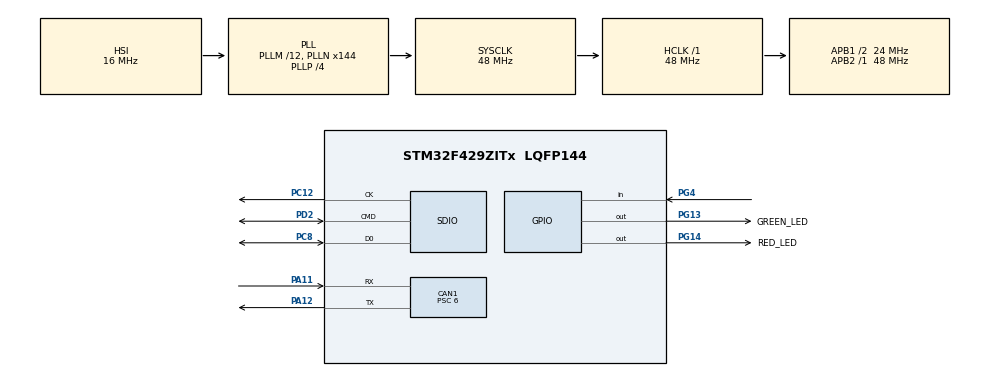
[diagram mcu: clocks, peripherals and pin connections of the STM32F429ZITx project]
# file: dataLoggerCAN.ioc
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CAN1.BS1=CAN_BS1_5TQ
CAN1.BS2=CAN_BS2_2TQ
CAN1.CalculateTimeQuantum=250.0
CAN1.Prescaler=6
CAN1.TTCM=DISABLE
Dma.Request0=SDIO_RX
Dma.Request1=SDIO_TX
Dma.SDIO_RX.0.Direction=DMA_PERIPH_TO_MEMORY
Dma.SDIO_RX.0.FIFOMode=DMA_FIFOMODE_ENABLE
Dma.SDIO_RX.0.FIFOThreshold=DMA_FIFO_THRESHOLD_FULL
Dma.SDIO_RX.0.Instance=DMA2_Stream3
Dma.SDIO_RX.0.MemBurst=DMA_MBURST_INC4
Dma.SDIO_RX.0.MemDataAlignment=DMA_MDATAALIGN_WORD
Dma.SDIO_RX.0.MemInc=DMA_MINC_ENABLE
Dma.SDIO_RX.0.Mode=DMA_PFCTRL
Dma.SDIO_RX.0.PeriphBurst=DMA_PBURST_INC4
Dma.SDIO_RX.0.PeriphDataAlignment=DMA_PDATAALIGN_WORD
Dma.SDIO_RX.0.PeriphInc=DMA_PINC_DISABLE
Dma.SDIO_RX.0.Priority=DMA_PRIORITY_LOW
Dma.SDIO_TX.1.Direction=DMA_MEMORY_TO_PERIPH
Dma.SDIO_TX.1.FIFOMode=DMA_FIFOMODE_ENABLE
Dma.SDIO_TX.1.FIFOThreshold=DMA_FIFO_THRESHOLD_FULL
Dma.SDIO_TX.1.Instance=DMA2_Stream6
Dma.SDIO_TX.1.MemBurst=DMA_MBURST_INC4
Dma.SDIO_TX.1.MemDataAlignment=DMA_MDATAALIGN_WORD
Dma.SDIO_TX.1.MemInc=DMA_MINC_ENABLE
Dma.SDIO_TX.1.Mode=DMA_PFCTRL
Dma.SDIO_TX.1.PeriphBurst=DMA_PBURST_INC4
Dma.SDIO_TX.1.PeriphDataAlignment=DMA_PDATAALIGN_WORD
Dma.SDIO_TX.1.PeriphInc=DMA_PINC_DISABLE
Dma.SDIO_TX.1.Priority=DMA_PRIORITY_LOW
FATFS.BSP.number=1
FATFS._CODE_PAGE=437
FATFS._USE_LFN=0
FATFS0.BSP.STBoard=false
FATFS0.BSP.api=Unknown
FATFS0.BSP.i2caddr=0
FATFS0.BSP.instance=PG4
FATFS0.BSP.ip=GPIO
FATFS0.BSP.mode=Input
FATFS0.BSP.name=Detect_SDIO
FATFS0.BSP.solution=PG4
Mcu.Family=STM32F4
Mcu.Name=STM32F429ZITx
Mcu.Package=LQFP144
NVIC.DMA2_Stream3_IRQn=true\:5\:0\:true\:true\:true\:2\:false\:true
NVIC.DMA2_Stream6_IRQn=true\:5\:0\:true\:true\:true\:3\:false\:true
NVIC.PriorityGroup=NVIC_PRIORITYGROUP_4
NVIC.TIM1_UP_TIM10_IRQn=true\:0\:0\:false\:false\:true\:false\:true
NVIC.TimeBase=TIM1_UP_TIM10_IRQn
NVIC.TimeBaseIP=TIM1
PA11.Mode=Master
PA11.Signal=CAN1_RX
PA12.Mode=Master
PA12.Signal=CAN1_TX
PA13.Mode=Serial_Wire
PA13.Signal=SYS_JTMS-SWDIO
PA14.Mode=Serial_Wire
PA14.Signal=SYS_JTCK-SWCLK
PC12.GPIO_PuPd=GPIO_NOPULL
PC12.Mode=SD_1_bit
PC12.Signal=SDIO_CK
PC8.GPIO_PuPd=GPIO_PULLUP
PC8.Mode=SD_1_bit
PC8.Signal=SDIO_D0
PD2.GPIO_PuPd=GPIO_PULLUP
PD2.Mode=SD_1_bit
PD2.Signal=SDIO_CMD
PG13.GPIO_Label=GREEN_LED
PG13.PinState=GPIO_PIN_RESET
PG13.Signal=GPIO_Output
PG14.GPIO_Label=RED_LED
PG14.PinState=GPIO_PIN_RESET
PG14.Signal=GPIO_Output
PG4.Signal=GPIO_Input
PH0/OSC_IN.Mode=HSE-External-Oscillator
PH0/OSC_IN.Signal=RCC_OSC_IN
PH1/OSC_OUT.Mode=HSE-External-Oscillator
PH1/OSC_OUT.Signal=RCC_OSC_OUT
ProjectManager.HeapSize=0x400
ProjectManager.StackSize=0x800
ProjectManager.TargetToolchain=STM32CubeIDE
RCC.48MHZClocksFreq_Value=48000000
RCC.AHBFreq_Value=48000000
RCC.APB1CLKDivider=RCC_HCLK_DIV2
RCC.APB1Freq_Value=24000000
RCC.APB1TimFreq_Value=48000000
RCC.APB2Freq_Value=48000000
RCC.APB2TimFreq_Value=48000000
RCC.CortexFreq_Value=48000000
RCC.HCLKFreq_Value=48000000
RCC.HSE_VALUE=8000000
RCC.HSI_VALUE=16000000
RCC.LSE_VALUE=32768
RCC.PLLM=12
RCC.PLLN=144
RCC.PLLP=RCC_PLLP_DIV4
RCC.RCC_RTC_Clock_SourceVirtual=RCC_RTCCLKSOURCE_HSE_DIV25
RCC.RCC_RTC_Clock_Source_FROM_HSE=RCC_RTCCLKSOURCE_HSE_DIV25
RCC.SYSCLKFreq_VALUE=48000000
RCC.SYSCLKSource=RCC_SYSCLKSOURCE_PLLCLK
RCC.VCOOutputFreq_Value=192000000
SDIO.ClockDiv=2
VP_FATFS_VS_SDIO.Mode=SDIO
VP_SYS_VS_tim1.Mode=TIM1
board=custom

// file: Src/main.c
/* USER CODE BEGIN Header */
/**
 ******************************************************************************
 * @file           : main.c
 * @brief          : Main program body
 ******************************************************************************
 * @attention
 *
 * <h2><center>&copy; Copyright (c) 2019 STMicroelectronics.
 * All rights reserved.</center></h2>
 *
 * This software component is licensed by ST under BSD 3-Clause license,
 * the "License"; You may not use this file except in compliance with the
 * License. You may obtain a copy of the License at:
 *                        opensource.org/licenses/BSD-3-Clause
 *
 ******************************************************************************
 */
/* USER CODE END Header */

#include "main.h"
#include "fatfs.h"

/* USER CODE BEGIN Includes */
#include "FreeRTOS.h"
#include "task.h"
#include "queue.h"
/* USER CODE END Includes */

/* USER CODE BEGIN PD */

/* xTaskCreate defines */
#define STACK_SIZE_TASK_LED       200
#define STACK_SIZE_TASK_LOG       800
#define STACK_SIZE_TASK_HANDLECAN 400

#define PRIORITY_TASK_LED         1
#define PRIORITY_TASK_LOG         2
#define PRIORITY_TASK_HANDLECAN   4

#define ID_CAN_GPS                0x500
#define MAX_SIZE_MESSAGE_CAN      45
#define SIZE_CAN_MESSAGE_BUFFER   15

/* USER CODE END PD */

/* CAN handler */
CAN_HandleTypeDef hcan1;

/* SD card handles */
SD_HandleTypeDef  hsd;
DMA_HandleTypeDef hdma_sdio_rx;
DMA_HandleTypeDef hdma_sdio_tx;

/* USER CODE BEGIN PV */

/* FreeRTOS task handles */
TaskHandle_t taskLedHandle;
TaskHandle_t taskLogHandle;
TaskHandle_t taskHandleCANHandle;

/* queue for CAN messages */
QueueHandle_t xQueueCAN;

/* variables for CAN bus configuration */
CAN_FilterTypeDef 	sFilterConfig;
CAN_RxHeaderTypeDef	RxHeader;
uint8_t 			RxData[8];

/* CAN message struct */
struct canMessage {
	uint32_t id;
	uint8_t  data[8];
	uint32_t timestamp;
};

/* struct for datetime */
struct nowDateTime {
	uint32_t day;
	uint32_t month;
	uint32_t year;
	uint32_t hour;
	uint32_t minute;

};

/* flag to control log file creation */
_Bool flagDateSet = 0;

/* USER CODE END PV */

void SystemClock_Config(void);
static void MX_GPIO_Init(void);
static void MX_DMA_Init(void);
static void MX_CAN1_Init(void);
static void MX_SDIO_SD_Init(void);
static void MX_NVIC_Init(void);
/* USER CODE BEGIN PFP */

/* task for debugging, just a blink LED */
void taskLed(void *pvParameters);

/* task to save CAN messages to SD card */
void taskLog(void *pvParameters);

/* task to read CAN messages (polling) */
void taskHandleCAN(void *pvParameters);

/* function to control whether there was an error with SD card or not */
void sdCardError(FRESULT f_status, uint8_t location);

/* USER CODE END PFP */

void SystemClock_Config(void)
{
  RCC_OscInitTypeDef RCC_OscInitStruct = {0};
  RCC_ClkInitTypeDef RCC_ClkInitStruct = {0};

  /** Configure the main internal regulator output voltage
  */
  __HAL_RCC_PWR_CLK_ENABLE();
  __HAL_PWR_VOLTAGESCALING_CONFIG(PWR_REGULATOR_VOLTAGE_SCALE3);
  /** Initializes the CPU, AHB and APB busses clocks
  */
  RCC_OscInitStruct.OscillatorType = RCC_OSCILLATORTYPE_HSI;
  RCC_OscInitStruct.HSIState = RCC_HSI_ON;
  RCC_OscInitStruct.HSICalibrationValue = RCC_HSICALIBRATION_DEFAULT;
  RCC_OscInitStruct.PLL.PLLState = RCC_PLL_ON;
  RCC_OscInitStruct.PLL.PLLSource = RCC_PLLSOURCE_HSI;
  RCC_OscInitStruct.PLL.PLLM = 12;
  RCC_OscInitStruct.PLL.PLLN = 144;
  RCC_OscInitStruct.PLL.PLLP = RCC_PLLP_DIV4;
  RCC_OscInitStruct.PLL.PLLQ = 4;
  if (HAL_RCC_OscConfig(&RCC_OscInitStruct) != HAL_OK)
  {
    Error_Handler();
  }
  /** Initializes the CPU, AHB and APB busses clocks
  */
  RCC_ClkInitStruct.ClockType = RCC_CLOCKTYPE_HCLK|RCC_CLOCKTYPE_SYSCLK
                              |RCC_CLOCKTYPE_PCLK1|RCC_CLOCKTYPE_PCLK2;
  RCC_ClkInitStruct.SYSCLKSource = RCC_SYSCLKSOURCE_PLLCLK;
  RCC_ClkInitStruct.AHBCLKDivider = RCC_SYSCLK_DIV1;
  RCC_ClkInitStruct.APB1CLKDivider = RCC_HCLK_DIV2;
  RCC_ClkInitStruct.APB2CLKDivider = RCC_HCLK_DIV1;

  if (HAL_RCC_ClockConfig(&RCC_ClkInitStruct, FLASH_LATENCY_1) != HAL_OK)
  {
    Error_Handler();
  }
}

/**
  * @brief NVIC Configuration.
  * @retval None
  */
static void MX_NVIC_Init(void)
{
  /* DMA2_Stream3_IRQn interrupt configuration */
  HAL_NVIC_SetPriority(DMA2_Stream3_IRQn, 5, 0);
  HAL_NVIC_EnableIRQ(DMA2_Stream3_IRQn);
  /* DMA2_Stream6_IRQn interrupt configuration */
  HAL_NVIC_SetPriority(DMA2_Stream6_IRQn, 5, 0);
  HAL_NVIC_EnableIRQ(DMA2_Stream6_IRQn);
}

static void MX_CAN1_Init(void)
{

  hcan1.Instance = CAN1;
  hcan1.Init.Prescaler = 6;
  hcan1.Init.Mode = CAN_MODE_NORMAL;
  hcan1.Init.SyncJumpWidth = CAN_SJW_1TQ;
  hcan1.Init.TimeSeg1 = CAN_BS1_5TQ;
  hcan1.Init.TimeSeg2 = CAN_BS2_2TQ;
  hcan1.Init.TimeTriggeredMode = DISABLE;
  hcan1.Init.AutoBusOff = DISABLE;
  hcan1.Init.AutoWakeUp = DISABLE;
  hcan1.Init.AutoRetransmission = DISABLE;
  hcan1.Init.ReceiveFifoLocked = DISABLE;
  hcan1.Init.TransmitFifoPriority = DISABLE;
  if (HAL_CAN_Init(&hcan1) != HAL_OK)
  {
    Error_Handler();
  }
  /* USER CODE BEGIN CAN1_Init 2 */

  /* config CAN filter */
  sFilterConfig.FilterBank = 0;
  sFilterConfig.FilterMode = CAN_FILTERMODE_IDMASK;
  sFilterConfig.FilterScale = CAN_FILTERSCALE_32BIT;
  sFilterConfig.FilterIdHigh = 0x0000;
  sFilterConfig.FilterIdLow = 0x0000;
  sFilterConfig.FilterMaskIdHigh = 0x0000;
  sFilterConfig.FilterMaskIdLow = 0x0000;
  sFilterConfig.FilterFIFOAssignment	= CAN_RX_FIFO0;
  sFilterConfig.FilterActivation = ENABLE;
  sFilterConfig.SlaveStartFilterBank = 14;

  if (HAL_CAN_ConfigFilter(&hcan1, &sFilterConfig) != HAL_OK) {
    /* Filter configuration Error */
    Error_Handler();
  }

  /* USER CODE END CAN1_Init 2 */

}

static void MX_SDIO_SD_Init(void)
{

  hsd.Instance = SDIO;
  hsd.Init.ClockEdge = SDIO_CLOCK_EDGE_RISING;
  hsd.Init.ClockBypass = SDIO_CLOCK_BYPASS_DISABLE;
  hsd.Init.ClockPowerSave = SDIO_CLOCK_POWER_SAVE_DISABLE;
  hsd.Init.BusWide = SDIO_BUS_WIDE_1B;
  hsd.Init.HardwareFlowControl = SDIO_HARDWARE_FLOW_CONTROL_DISABLE;
  hsd.Init.ClockDiv = 2;

}

static void MX_DMA_Init(void)
{

  /* DMA controller clock enable */
  __HAL_RCC_DMA2_CLK_ENABLE();

}

static void MX_GPIO_Init(void)
{
  GPIO_InitTypeDef GPIO_InitStruct = {0};

  /* GPIO Ports Clock Enable */
  __HAL_RCC_GPIOH_CLK_ENABLE();
  __HAL_RCC_GPIOG_CLK_ENABLE();
  __HAL_RCC_GPIOC_CLK_ENABLE();
  __HAL_RCC_GPIOA_CLK_ENABLE();
  __HAL_RCC_GPIOD_CLK_ENABLE();

  /*Configure GPIO pin Output Level */
  HAL_GPIO_WritePin(GPIOG, GREEN_LED_Pin|RED_LED_Pin, GPIO_PIN_RESET);

  /*Configure GPIO pin : PG4 */
  GPIO_InitStruct.Pin = GPIO_PIN_4;
  GPIO_InitStruct.Mode = GPIO_MODE_INPUT;
  GPIO_InitStruct.Pull = GPIO_NOPULL;
  HAL_GPIO_Init(GPIOG, &GPIO_InitStruct);

  /*Configure GPIO pins : GREEN_LED_Pin RED_LED_Pin */
  GPIO_InitStruct.Pin = GREEN_LED_Pin|RED_LED_Pin;
  GPIO_InitStruct.Mode = GPIO_MODE_OUTPUT_PP;
  GPIO_InitStruct.Pull = GPIO_NOPULL;
  GPIO_InitStruct.Speed = GPIO_SPEED_FREQ_LOW;
  HAL_GPIO_Init(GPIOG, &GPIO_InitStruct);

}

/* USER CODE BEGIN 4 */

/**
  * @brief  The application entry point.
  * @retval int
  */
int main(void) {
	/* reset of all peripherals, initializes the flash interface and the Systick. */
	HAL_Init();

	/* configure the system clock */
	SystemClock_Config();

	/* initialize all configured peripherals */
	MX_DMA_Init();
	MX_GPIO_Init();
	MX_CAN1_Init();
	MX_SDIO_SD_Init();

	/* initialize interrupts */
	MX_NVIC_Init();

	/* try to create queue */
	xQueueCAN = xQueueCreate(50, sizeof(struct canMessage));
	if (xQueueCAN == NULL) {
		/* queue was not created and must not be used. */
	}

	/* create tasks */
//	xTaskCreate (
//		taskLed, 					// function
//		(signed char *) "TaskLed", 	// name
//		STACK_SIZE_TASK_LED,		// stack size
//		(void *) NULL,				// pvParameters
//		PRIORITY_TASK_LED,			// priority
//		&taskLedHandle				// taskHandle
//	);

	xTaskCreate (
		taskLog, 					// function
		(signed char *) "TaskLog", 	// name
		STACK_SIZE_TASK_LOG,		// stack size
		(void *) NULL,				// pvParameters
		PRIORITY_TASK_LOG,			// priority
		&taskLogHandle				// taskHandle
	);

	xTaskCreate (
		taskHandleCAN, 					// function
		(signed char *) "TaskHadleCAN",	// name
		STACK_SIZE_TASK_HANDLECAN,		// stack size
		(void *) NULL,					// pvParameters
		PRIORITY_TASK_HANDLECAN,		// priority
		&taskHandleCANHandle			// taskHandle
	);

	/* start the scheduler */
	vTaskStartScheduler();

	/* infinite loop */
	for (;;);
}

void taskLed(void *pvParameters) {
	TickType_t xLastWakeTime = xTaskGetTickCount();
	const TickType_t timeMiliseconds = 1000 / portTICK_PERIOD_MS;

	for (;;) {
		/* red LED for debugging */
		HAL_GPIO_TogglePin(GPIOG, GREEN_LED_Pin);

		vTaskDelayUntil(&xLastWakeTime, timeMiliseconds);
	}
}

void taskHandleCAN (void *pvParameters) {
	uint32_t messagesInFifo;
	HAL_StatusTypeDef status;
	struct canMessage message;

	BaseType_t xHigherPriorityTaskWoken = pdFALSE;

	if (HAL_CAN_Start(&hcan1) != HAL_OK) {
		/* start error */
		Error_Handler();
	}

	for (;;) {
		/* waits for a message in CAN bus */
		do {
			messagesInFifo = HAL_CAN_GetRxFifoFillLevel(&hcan1, CAN_RX_FIFO0);
		} while (messagesInFifo == 0);

		/* read CAN message */
		status = HAL_CAN_GetRxMessage(&hcan1, CAN_RX_FIFO0, &RxHeader, RxData);

		/* case message is OK */
		if (status == HAL_OK) {
			/* save data to CAN message struct */
			message.id = RxHeader.StdId;
			memcpy(message.data, RxData, sizeof(RxData));
			message.timestamp = xTaskGetTickCount();

			/* add message to queue */
			xQueueSend(xQueueCAN, (const void *) &message, &xHigherPriorityTaskWoken);
		}
	}
}

void taskLog (void *pvParameters) {
	/* FatFS variables */
	FRESULT f_status;
	MX_FATFS_Init();

	/* log file values */
	char folderPath[9]; // yy-mm-dd
	char fileName[15];   // hh-mm

	/* structs */
	struct canMessage message;
	struct nowDateTime logDateTime;

	/* delta time calculation variables */
	uint32_t timeInit;
	uint32_t timeToLog;

	/* init buffer for messages to be logged with empty values */
	char messageToLog[SIZE_CAN_MESSAGE_BUFFER * MAX_SIZE_MESSAGE_CAN];
	memset(messageToLog, 0, sizeof(messageToLog));

	/* number of messages to log */
	uint8_t numberMessagesToLog = 0;

	/* try to mount SD card */
	f_status = f_mount(&SDFatFS, (char const*)SDPath, 1);
	if (f_status != FR_OK) {
		sdCardError(f_status, 0);
	}

	for (;;) {
		/* waits for a message in the queue */
		xQueueReceive(xQueueCAN, (void *) &message, portMAX_DELAY);

		/* if log file is already created */
		if (flagDateSet) {
			timeToLog = (message.timestamp - timeInit) * portTICK_PERIOD_MS;

			if ((int)timeToLog > 0) {
				/* append new message to buffer */
				sprintf(messageToLog, "%s%x;%02x|%02x|%02x|%02x|%02x|%02x|%02x|%02x;%d\n",
					messageToLog,
					message.id,
					message.data[0],
					message.data[1],
					message.data[2],
					message.data[3],
					message.data[4],
					message.data[5],
					message.data[6],
					message.data[7],
					timeToLog
				);

				/* number of messages in the buffer */
				numberMessagesToLog++;

				/* if buffer is full */
				if (numberMessagesToLog == SIZE_CAN_MESSAGE_BUFFER) {
					/* open file */
					f_status = f_open(&SDFile, fileName, FA_OPEN_ALWAYS | FA_WRITE);

					if (f_status == FR_OK) {
						/* set pointer to the end of the file */
						f_status = f_lseek(&SDFile, f_size(&SDFile));
						if (f_status != FR_OK) {
							sdCardError(f_status, 5);
						}

						/* write message in log file */
						if (f_puts(messageToLog, &SDFile) > 0);

						/* wait until file is closed */
						do {
							f_status = f_close(&SDFile);
						} while (f_status != FR_OK);
					}

					else {
						sdCardError(f_status, 4);
					}

					/* reset buffer */
					memset(messageToLog, 0, sizeof(messageToLog));
					numberMessagesToLog = 0;

					/* green LED for debugging */
					HAL_GPIO_TogglePin(GPIOG, GREEN_LED_Pin);
				}
			}
		}

		/* waits for a GPS message, in order to get the date for the file name */
		else if ((message.id == ID_CAN_GPS) && !(flagDateSet)) {
			/* struct with date and time */
			logDateTime.day = message.data[0];
			logDateTime.month = message.data[1];
			logDateTime.year = message.data[2];

			logDateTime.hour = message.data[3];
			logDateTime.minute = message.data[4];

			/* create folder in SD card, if does not exist */
			sprintf(folderPath, "%02d-%02d-%02d",
				logDateTime.year,
				logDateTime.month,
				logDateTime.day
			);
			f_status = f_mkdir(folderPath);
			if ((f_status != FR_OK) && (f_status != FR_EXIST)) {
				sdCardError(f_status, 1);
			}

			/* create new file in SD card's folder */
			sprintf(fileName, "%s/%02d-%02d.txt",
				folderPath,
				logDateTime.hour,
				logDateTime.minute
			);
			f_status = f_open(&SDFile, fileName, FA_CREATE_ALWAYS | FA_WRITE);
			if (f_status != FR_OK) {
				sdCardError(f_status, 2);
			}

			/* close file */
			f_status = f_close(&SDFile);
			if (f_status != FR_OK) {
				sdCardError(f_status, 3);
			}

			/* if date and time are set, does not enter here anymore */
			flagDateSet = 1;

			/* get initial timestamp for delta time calculation */
			timeInit = xTaskGetTickCount();
		}
	}

	/* unmount drive, don't forget this! */
	f_mount(0, "", 1);
}

void sdCardError(FRESULT f_status, uint8_t location) {
	/* red LED for debugging */
	HAL_GPIO_TogglePin(GPIOG, RED_LED_Pin);

	while (1);
}
/* USER CODE END 4 */

void HAL_TIM_PeriodElapsedCallback(TIM_HandleTypeDef *htim)
{
  if (htim->Instance == TIM1) {
    HAL_IncTick();
  }
}

void Error_Handler(void)
{
}

/************************ (C) COPYRIGHT STMicroelectronics *****END OF FILE****/
